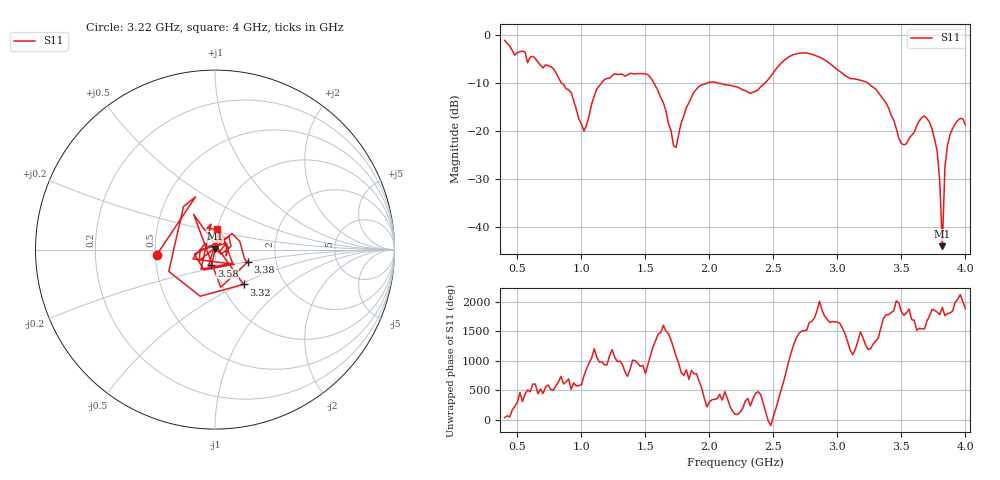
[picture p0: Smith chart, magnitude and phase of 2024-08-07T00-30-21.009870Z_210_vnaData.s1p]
!Created with skrf (http://scikit-rf.org).
# Hz S RI R 50.0
!freq ReS11 ImS11
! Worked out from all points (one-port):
!   181 points, 400 MHz to 4 GHz, reference 50 ohm
!   lowest |S11| = -44.0 dB at 3.82 GHz (marker M1), VSWR 1.01, Z = 49.8 + j0.608 ohm
!   |S11| at or under -10 dB: 1.566 GHz to 1.988 GHz (422.1 MHz wide, 23.8 % of centre); 2.059 GHz to 2.435 GHz (376.1 MHz wide, 16.7 % of centre); 3.235 GHz to end of sweep (the widest 3 of 4)
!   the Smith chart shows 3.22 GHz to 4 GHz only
!   S11 on the Smith chart (normalised r, x): 3.22 GHz: 0.51, -0.03; 3.32 GHz: 1.26, -0.52; 3.38 GHz: 1.43, -0.21; 3.58 GHz: 0.95, -0.17; 4 GHz: 0.99, +0.23
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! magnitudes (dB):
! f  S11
! 400 MHz  -1.2
! 860 MHz  -10.3
! 1.02 GHz  -20.0
! 1.12 GHz  -11.3
! 1.3 GHz  -8.2
! 1.52 GHz  -8.3
! 1.64 GHz  -14.1
! 1.72 GHz  -23.1
! 1.76 GHz  -20.7
! 1.92 GHz  -10.7
! 2.2 GHz  -10.7
! 2.36 GHz  -11.8
! 2.66 GHz  -4.1
! 3.1 GHz  -9.1
! 3.22 GHz  -9.7
! 3.32 GHz  -12.0
! 3.38 GHz  -14.2
! 3.5 GHz  -22.6
! 3.56 GHz  -21.5
! 3.58 GHz  -20.9
! 3.68 GHz  -16.9
! 3.74 GHz  -19.6
! 3.78 GHz  -24.3
! 3.8 GHz  -30.7
! 3.82 GHz  -44.0
! 3.84 GHz  -27.6
! 3.86 GHz  -23.0
! 4 GHz  -18.7
